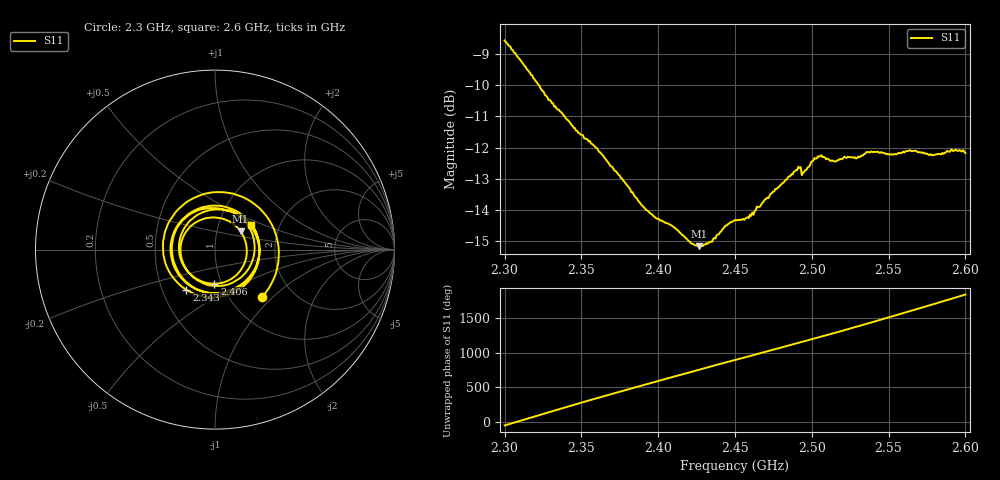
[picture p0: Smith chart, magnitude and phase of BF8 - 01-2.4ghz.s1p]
! NanoVNA-App
! Date: 2026-05-22 16:35:11
! Start: 2.3GHz Stop: 2.6GHz Points: 401
! S-Parameter data: F S11
# Hz S RI R 50
!  Frequency  S11_Real  S11_Imag
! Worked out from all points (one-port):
!   401 points, 2.3 GHz to 2.6 GHz, reference 50 ohm
!   lowest |S11| = -15.2 dB at 2.427 GHz (marker M1), VSWR 1.42, Z = 65 + j13.6 ohm
!   |S11| at or under -10 dB: 2.322 GHz to end of sweep
!   S11 on the Smith chart (normalised r, x): 2.3 GHz: 1.39, -0.86; 2.343 GHz: 0.66, -0.32; 2.406 GHz: 0.92, -0.36; 2.6 GHz: 1.43, +0.43
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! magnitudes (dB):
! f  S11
! 2.3 GHz  -8.6
! 2.328 GHz  -10.4
! 2.337 GHz  -10.9
! 2.343 GHz  -11.2
! 2.359 GHz  -12.0
! 2.375 GHz  -12.9
! 2.391 GHz  -13.9
! 2.406 GHz  -14.4
! 2.413 GHz  -14.6
! 2.421 GHz  -15.1
! 2.427 GHz  -15.2
! 2.433 GHz  -15.0
! 2.444 GHz  -14.5
! 2.45 GHz  -14.3
! 2.461 GHz  -14.2
! 2.487 GHz  -12.9
! 2.491 GHz  -12.6
! 2.495 GHz  -12.8
! 2.505 GHz  -12.3
! 2.514 GHz  -12.4
! 2.525 GHz  -12.3
! 2.53 GHz  -12.3
! 2.537 GHz  -12.1
! 2.552 GHz  -12.2
! 2.562 GHz  -12.1
! 2.578 GHz  -12.2
! 2.592 GHz  -12.1
! 2.6 GHz  -12.2
